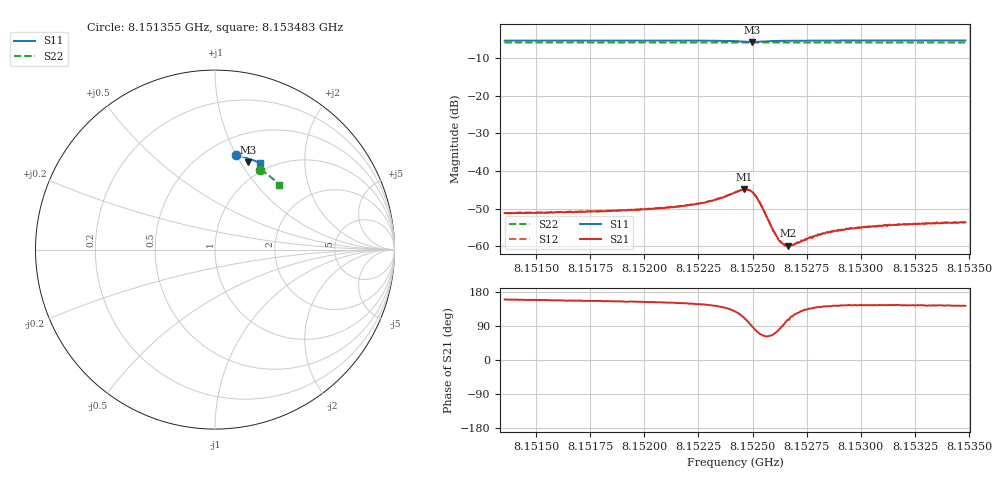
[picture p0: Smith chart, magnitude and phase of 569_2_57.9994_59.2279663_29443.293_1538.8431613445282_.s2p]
#  HZ  S  RI  R  50.00
! Rohde & Schwarz Vector Network Analyzer
! Rohde-Schwarz,ZNB20-2Port,1311601062101988,3.16
! Created: UTC 3/21/2024, 1:15:50 AM
! freq[Hz]  re:S11  im:S11  re:S21  im:S21  re:S12  im:S12  re:S22  im:S22
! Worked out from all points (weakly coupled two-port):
!   401 points, 8.151355 GHz to 8.153483 GHz, reference 50 ohm
!   highest |S21| = -44.92 dB at 8.152461 GHz (marker M1); lowest = -59.9 dB at 8.152664 GHz (marker M2)
!   lowest |S11| = -5.7 dB at 8.152499 GHz (marker M3), VSWR 3.16, Z = 40.4 + j53.7 ohm
!   |S11| at or under -10 dB: nowhere
!   |S22| runs from -5.9 to -5.8 dB; largest |S21 - S12| = 0.00012
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8.1513547e9  0.1144 0.5275  -0.00258 0.000945  -0.00256 0.000996  0.2532 0.4442
8.1517112e9  0.1392 0.522  -0.00262 0.00112  -0.00263 0.00121  0.2725 0.432
8.151924e9  0.1541 0.5179  -0.00268 0.00134  -0.00272 0.00135  0.2839 0.4244
8.1520677e9  0.1645 0.515  -0.0028 0.00148  -0.00284 0.00154  0.2914 0.4191
8.1522592e9  0.1792 0.5092  -0.00313 0.002  -0.00311 0.00206  0.3011 0.4116
8.1523497e9  0.1869 0.5042  -0.00333 0.00275  -0.00337 0.00278  0.3058 0.408
8.1524188e9  0.192 0.4962  -0.0032 0.00407  -0.00315 0.00412  0.3092 0.4051
8.1524614e9  0.1905 0.4884  -0.00204 0.0053  -0.00201 0.00533  0.311 0.403
8.1524827e9  0.1864 0.4858  -0.000815 0.00553  -0.000766 0.00558  0.3118 0.4023
8.1524987e9  0.1824 0.4858  0.000167 0.00524  0.000241 0.00529  0.3123 0.4017
8.1525146e9  0.1792 0.488  0.000932 0.00453  0.000967 0.00456  0.3131 0.4014
8.1525306e9  0.1777 0.4914  0.00132 0.00367  0.00135 0.00373  0.3137 0.4007
8.1525944e9  0.1829 0.501  0.000628 0.00151  0.00064 0.00148  0.3172 0.3985
8.1526157e9  0.1856 0.5021  0.000305 0.00125  0.000341 0.00123  0.3184 0.3978
8.152637e9  0.1881 0.5027  1.73e-05 0.00109  3.11e-05 0.00108  0.3195 0.397
8.1526636e9  0.1912 0.5029  -0.000293 0.000969  -0.000268 0.000973  0.321 0.3958
8.1526849e9  0.1934 0.5027  -0.000439 0.000936  -0.000454 0.000942  0.3218 0.395
8.1527753e9  0.2016 0.5013  -0.000964 0.000896  -0.000916 0.000885  0.3263 0.3913
8.1528339e9  0.2065 0.5  -0.00115 0.000918  -0.00114 0.000968  0.3292 0.3887
8.1529456e9  0.2147 0.4973  -0.0014 0.000956  -0.00136 0.000997  0.3345 0.384
8.1531318e9  0.2275 0.492  -0.00155 0.0011  -0.00157 0.00115  0.3432 0.3759
8.153483e9  0.2503 0.4817  -0.00165 0.00125  -0.00164 0.00127  0.3589 0.3601
